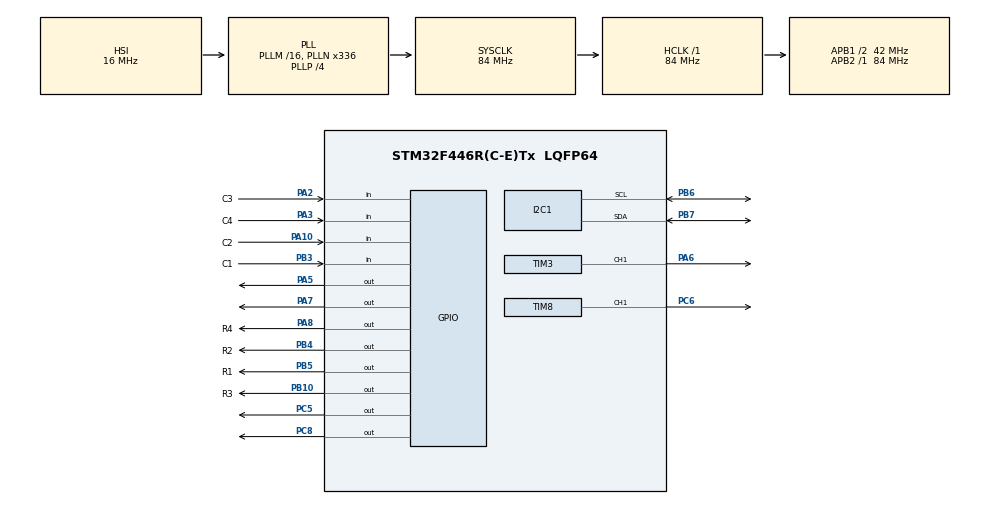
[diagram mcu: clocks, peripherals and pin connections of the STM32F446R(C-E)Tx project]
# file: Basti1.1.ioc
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Mcu.Family=STM32F4
Mcu.Name=STM32F446R(C-E)Tx
Mcu.Package=LQFP64
NVIC.PriorityGroup=NVIC_PRIORITYGROUP_0
PA10.GPIO_Label=C2
PA10.GPIO_PuPd=GPIO_PULLUP
PA10.Signal=GPIO_Input
PA2.GPIO_Label=C3
PA2.GPIO_PuPd=GPIO_PULLUP
PA2.Signal=GPIO_Input
PA3.GPIO_Label=C4
PA3.GPIO_PuPd=GPIO_PULLUP
PA3.Signal=GPIO_Input
PA5.Signal=GPIO_Output
PA6.Signal=S_TIM3_CH1
PA7.Signal=GPIO_Output
PA8.GPIO_Label=R4
PA8.PinState=GPIO_PIN_SET
PA8.Signal=GPIO_Output
PB10.GPIO_Label=R3
PB10.PinState=GPIO_PIN_SET
PB10.Signal=GPIO_Output
PB3.GPIO_Label=C1
PB3.GPIO_PuPd=GPIO_PULLUP
PB3.Signal=GPIO_Input
PB4.GPIO_Label=R2
PB4.PinState=GPIO_PIN_SET
PB4.Signal=GPIO_Output
PB5.GPIO_Label=R1
PB5.PinState=GPIO_PIN_SET
PB5.Signal=GPIO_Output
PB6.Mode=I2C
PB6.Signal=I2C1_SCL
PB7.Mode=I2C
PB7.Signal=I2C1_SDA
PC5.Signal=GPIO_Output
PC6.Signal=S_TIM8_CH1
PC8.Signal=GPIO_Output
PH0-OSC_IN.Mode=HSE-External-Oscillator
PH0-OSC_IN.Signal=RCC_OSC_IN
PH1-OSC_OUT.Mode=HSE-External-Oscillator
PH1-OSC_OUT.Signal=RCC_OSC_OUT
ProjectManager.HeapSize=0x200
ProjectManager.StackSize=0x400
ProjectManager.TargetToolchain=STM32CubeIDE
RCC.48MHZClocksFreq_Value=84000000
RCC.AHBFreq_Value=84000000
RCC.APB1CLKDivider=RCC_HCLK_DIV2
RCC.APB1Freq_Value=42000000
RCC.APB1TimFreq_Value=84000000
RCC.APB2Freq_Value=84000000
RCC.APB2TimFreq_Value=84000000
RCC.CortexFreq_Value=84000000
RCC.FLatency-AdvancedSettings=FLASH_LATENCY_2
RCC.HCLKFreq_Value=84000000
RCC.HSE_VALUE=8000000
RCC.HSI_VALUE=16000000
RCC.PLLN=336
RCC.PLLP=RCC_PLLP_DIV4
RCC.SYSCLKFreq_VALUE=84000000
RCC.SYSCLKSource=RCC_SYSCLKSOURCE_PLLCLK
RCC.USBFreq_Value=168000000
RCC.VCOOutputFreq_Value=336000000
SH.S_TIM3_CH1.0=TIM3_CH1,PWM Generation1 CH1
SH.S_TIM8_CH1.0=TIM8_CH1,PWM Generation1 CH1
TIM3.Channel-PWM\ Generation1\ CH1=TIM_CHANNEL_1
TIM3.Period=999
TIM3.Prescaler=8
TIM8.Channel-PWM\ Generation1\ CH1=TIM_CHANNEL_1
TIM8.Period=999
TIM8.Prescaler=8
VP_TIM3_VS_ClockSourceINT.Mode=Internal
VP_TIM8_VS_ClockSourceINT.Mode=Internal
board=NUCLEO-F446RE

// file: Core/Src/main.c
/* USER CODE BEGIN Header */
/**
 ******************************************************************************
 * @file           : main.c
 * @brief          : Main program body
 ******************************************************************************
 * @attention
 *
 * Copyright (c) 2025 STMicroelectronics.
 * All rights reserved.
 *
 * This software is licensed under terms that can be found in the LICENSE file
 * in the root directory of this software component.
 * If no LICENSE file comes with this software, it is provided AS-IS.
 *
 ******************************************************************************
 */
/* USER CODE END Header */
#include "main.h"

/* USER CODE BEGIN Includes */
#include "i2c-lcd.h"
/* USER CODE END Includes */

I2C_HandleTypeDef hi2c1;

TIM_HandleTypeDef htim3;
TIM_HandleTypeDef htim8;

void SystemClock_Config(void);
static void MX_GPIO_Init(void);
static void MX_I2C1_Init(void);
static void MX_TIM3_Init(void);
static void MX_TIM8_Init(void);

/* USER CODE BEGIN 0 */
char read_keypad (void)
{
	/* Make ROW 1 LOW and all other ROWs HIGH */
	HAL_GPIO_WritePin (R1_GPIO_Port, R1_Pin, GPIO_PIN_RESET);  //Pull the R1 low
	HAL_GPIO_WritePin (R2_GPIO_Port, R2_Pin, GPIO_PIN_SET);  // Pull the R2 High
	HAL_GPIO_WritePin (R3_GPIO_Port, R3_Pin, GPIO_PIN_SET);  // Pull the R3 High
	HAL_GPIO_WritePin (R4_GPIO_Port, R4_Pin, GPIO_PIN_SET);  // Pull the R4 High

	if (!(HAL_GPIO_ReadPin (C1_GPIO_Port, C1_Pin)))   // if the Col 1 is low
	{
		while (!(HAL_GPIO_ReadPin (C1_GPIO_Port, C1_Pin)));   // wait till the button is pressed
		HAL_GPIO_WritePin(GPIOC, GPIO_PIN_5, 1);
		HAL_GPIO_WritePin(GPIOC, GPIO_PIN_8, 0);
		TIM8->CCR1 = 999;
		HAL_TIM_PWM_Start(&htim8, TIM_CHANNEL_1);
		return '1';
	}

	if (!(HAL_GPIO_ReadPin (C2_GPIO_Port, C2_Pin)))   // if the Col 2 is low
	{
		while (!(HAL_GPIO_ReadPin (C2_GPIO_Port, C2_Pin)));   // wait till the button is pressed
		return '2';
	}

	if (!(HAL_GPIO_ReadPin (C3_GPIO_Port, C3_Pin)))   // if the Col 3 is low
	{
		while (!(HAL_GPIO_ReadPin (C3_GPIO_Port, C3_Pin)));   // wait till the button is pressed
		return '3';
	}

	if (!(HAL_GPIO_ReadPin (C4_GPIO_Port, C4_Pin)))   // if the Col 4 is low
	{
		while (!(HAL_GPIO_ReadPin (C4_GPIO_Port, C4_Pin)));   // wait till the button is pressed
		return 'A';
	}

	/* Make ROW 2 LOW and all other ROWs HIGH */
	HAL_GPIO_WritePin (R1_GPIO_Port, R1_Pin, GPIO_PIN_SET);  //Pull the R1 low
	HAL_GPIO_WritePin (R2_GPIO_Port, R2_Pin, GPIO_PIN_RESET);  // Pull the R2 High
	HAL_GPIO_WritePin (R3_GPIO_Port, R3_Pin, GPIO_PIN_SET);  // Pull the R3 High
	HAL_GPIO_WritePin (R4_GPIO_Port, R4_Pin, GPIO_PIN_SET);  // Pull the R4 High

	if (!(HAL_GPIO_ReadPin (C1_GPIO_Port, C1_Pin)))   // if the Col 1 is low
	{
		while (!(HAL_GPIO_ReadPin (C1_GPIO_Port, C1_Pin)));   // wait till the button is pressed
		return '4';
	}

	if (!(HAL_GPIO_ReadPin (C2_GPIO_Port, C2_Pin)))   // if the Col 2 is low
	{
		while (!(HAL_GPIO_ReadPin (C2_GPIO_Port, C2_Pin)));   // wait till the button is pressed
		return '5';
	}

	if (!(HAL_GPIO_ReadPin (C3_GPIO_Port, C3_Pin)))   // if the Col 3 is low
	{
		while (!(HAL_GPIO_ReadPin (C3_GPIO_Port, C3_Pin)));   // wait till the button is pressed
		return '6';
	}

	if (!(HAL_GPIO_ReadPin (C4_GPIO_Port, C4_Pin)))   // if the Col 4 is low
	{
		while (!(HAL_GPIO_ReadPin (C4_GPIO_Port, C4_Pin)));   // wait till the button is pressed
		return 'B';
	}

	/* Make ROW 3 LOW and all other ROWs HIGH */
	HAL_GPIO_WritePin (R1_GPIO_Port, R1_Pin, GPIO_PIN_SET);  //Pull the R1 low
	HAL_GPIO_WritePin (R2_GPIO_Port, R2_Pin, GPIO_PIN_SET);  // Pull the R2 High
	HAL_GPIO_WritePin (R3_GPIO_Port, R3_Pin, GPIO_PIN_RESET);  // Pull the R3 High
	HAL_GPIO_WritePin (R4_GPIO_Port, R4_Pin, GPIO_PIN_SET);  // Pull the R4 High

	if (!(HAL_GPIO_ReadPin (C1_GPIO_Port, C1_Pin)))   // if the Col 1 is low
	{
		while (!(HAL_GPIO_ReadPin (C1_GPIO_Port, C1_Pin)));   // wait till the button is pressed
		return '7';
	}

	if (!(HAL_GPIO_ReadPin (C2_GPIO_Port, C2_Pin)))   // if the Col 2 is low
	{
		while (!(HAL_GPIO_ReadPin (C2_GPIO_Port, C2_Pin)));   // wait till the button is pressed
		return '8';
	}

	if (!(HAL_GPIO_ReadPin (C3_GPIO_Port, C3_Pin)))   // if the Col 3 is low
	{
		while (!(HAL_GPIO_ReadPin (C3_GPIO_Port, C3_Pin)));   // wait till the button is pressed
		return '9';
	}

	if (!(HAL_GPIO_ReadPin (C4_GPIO_Port, C4_Pin)))   // if the Col 4 is low
	{
		while (!(HAL_GPIO_ReadPin (C4_GPIO_Port, C4_Pin)));   // wait till the button is pressed
		return 'C';
	}

	/* Make ROW 4 LOW and all other ROWs HIGH */
	HAL_GPIO_WritePin (R1_GPIO_Port, R1_Pin, GPIO_PIN_SET);  //Pull the R1 low
	HAL_GPIO_WritePin (R2_GPIO_Port, R2_Pin, GPIO_PIN_SET);  // Pull the R2 High
	HAL_GPIO_WritePin (R3_GPIO_Port, R3_Pin, GPIO_PIN_SET);  // Pull the R3 High
	HAL_GPIO_WritePin (R4_GPIO_Port, R4_Pin, GPIO_PIN_RESET);  // Pull the R4 High

	if (!(HAL_GPIO_ReadPin (C1_GPIO_Port, C1_Pin)))   // if the Col 1 is low
	{
		while (!(HAL_GPIO_ReadPin (C1_GPIO_Port, C1_Pin)));   // wait till the button is pressed
		return '*';
	}

	if (!(HAL_GPIO_ReadPin (C2_GPIO_Port, C2_Pin)))   // if the Col 2 is low
	{
		while (!(HAL_GPIO_ReadPin (C2_GPIO_Port, C2_Pin)));   // wait till the button is pressed
		return '0';
	}

	if (!(HAL_GPIO_ReadPin (C3_GPIO_Port, C3_Pin)))   // if the Col 3 is low
	{
		while (!(HAL_GPIO_ReadPin (C3_GPIO_Port, C3_Pin)));   // wait till the button is pressed
		return '#';
	}

	if (!(HAL_GPIO_ReadPin (C4_GPIO_Port, C4_Pin)))   // if the Col 4 is low
	{
		while (!(HAL_GPIO_ReadPin (C4_GPIO_Port, C4_Pin)));   // wait till the button is pressed
		return 'D';
	}

	return 0x01;  // /if nothing is pressed

}
/* USER CODE END 0 */

int main(void)
{

	/* MCU Configuration--------------------------------------------------------*/

	/* Reset of all peripherals, Initializes the Flash interface and the Systick. */
	HAL_Init();

	/* Configure the system clock */
	SystemClock_Config();

	/* Initialize all configured peripherals */
	MX_GPIO_Init();
	MX_I2C1_Init();
	MX_TIM3_Init();
	MX_TIM8_Init();
	/* USER CODE BEGIN 2 */
	lcd_init();
	lcd_clear();

	lcd_put_cur(0, 0);
	lcd_send_string("WelcomeBastiMachine!");
	lcd_put_cur(2, 0);
	lcd_send_string("Enter Basti: ");

	/* USER CODE END 2 */

	/* Infinite loop */
	while (1)
	{

		/* USER CODE BEGIN 3 */
		char key = read_keypad();
		if (key!=0x01)
		{
			lcd_send_data(key);
		}

//		HAL_GPIO_WritePin(GPIOA, GPIO_PIN_5, 1);
//		HAL_GPIO_WritePin(GPIOA, GPIO_PIN_7, 0);
//		TIM3->CCR1 = 999;
//		HAL_TIM_PWM_Start(&htim3, TIM_CHANNEL_1);
	}
	/* USER CODE END 3 */
}

void SystemClock_Config(void)
{
	RCC_OscInitTypeDef RCC_OscInitStruct = {0};
	RCC_ClkInitTypeDef RCC_ClkInitStruct = {0};

	/** Configure the main internal regulator output voltage
	 */
	__HAL_RCC_PWR_CLK_ENABLE();
	__HAL_PWR_VOLTAGESCALING_CONFIG(PWR_REGULATOR_VOLTAGE_SCALE3);

	/** Initializes the RCC Oscillators according to the specified parameters
	 * in the RCC_OscInitTypeDef structure.
	 */
	RCC_OscInitStruct.OscillatorType = RCC_OSCILLATORTYPE_HSI;
	RCC_OscInitStruct.HSIState = RCC_HSI_ON;
	RCC_OscInitStruct.HSICalibrationValue = RCC_HSICALIBRATION_DEFAULT;
	RCC_OscInitStruct.PLL.PLLState = RCC_PLL_ON;
	RCC_OscInitStruct.PLL.PLLSource = RCC_PLLSOURCE_HSI;
	RCC_OscInitStruct.PLL.PLLM = 16;
	RCC_OscInitStruct.PLL.PLLN = 336;
	RCC_OscInitStruct.PLL.PLLP = RCC_PLLP_DIV4;
	RCC_OscInitStruct.PLL.PLLQ = 2;
	RCC_OscInitStruct.PLL.PLLR = 2;
	if (HAL_RCC_OscConfig(&RCC_OscInitStruct) != HAL_OK)
	{
		Error_Handler();
	}

	/** Initializes the CPU, AHB and APB buses clocks
	 */
	RCC_ClkInitStruct.ClockType = RCC_CLOCKTYPE_HCLK|RCC_CLOCKTYPE_SYSCLK
			|RCC_CLOCKTYPE_PCLK1|RCC_CLOCKTYPE_PCLK2;
	RCC_ClkInitStruct.SYSCLKSource = RCC_SYSCLKSOURCE_PLLCLK;
	RCC_ClkInitStruct.AHBCLKDivider = RCC_SYSCLK_DIV1;
	RCC_ClkInitStruct.APB1CLKDivider = RCC_HCLK_DIV2;
	RCC_ClkInitStruct.APB2CLKDivider = RCC_HCLK_DIV1;

	if (HAL_RCC_ClockConfig(&RCC_ClkInitStruct, FLASH_LATENCY_2) != HAL_OK)
	{
		Error_Handler();
	}
}

static void MX_I2C1_Init(void)
{

	hi2c1.Instance = I2C1;
	hi2c1.Init.ClockSpeed = 100000;
	hi2c1.Init.DutyCycle = I2C_DUTYCYCLE_2;
	hi2c1.Init.OwnAddress1 = 0;
	hi2c1.Init.AddressingMode = I2C_ADDRESSINGMODE_7BIT;
	hi2c1.Init.DualAddressMode = I2C_DUALADDRESS_DISABLE;
	hi2c1.Init.OwnAddress2 = 0;
	hi2c1.Init.GeneralCallMode = I2C_GENERALCALL_DISABLE;
	hi2c1.Init.NoStretchMode = I2C_NOSTRETCH_DISABLE;
	if (HAL_I2C_Init(&hi2c1) != HAL_OK)
	{
		Error_Handler();
	}

}

static void MX_TIM3_Init(void)
{

	TIM_ClockConfigTypeDef sClockSourceConfig = {0};
	TIM_MasterConfigTypeDef sMasterConfig = {0};
	TIM_OC_InitTypeDef sConfigOC = {0};

	htim3.Instance = TIM3;
	htim3.Init.Prescaler = 8;
	htim3.Init.CounterMode = TIM_COUNTERMODE_UP;
	htim3.Init.Period = 999;
	htim3.Init.ClockDivision = TIM_CLOCKDIVISION_DIV1;
	htim3.Init.AutoReloadPreload = TIM_AUTORELOAD_PRELOAD_DISABLE;
	if (HAL_TIM_Base_Init(&htim3) != HAL_OK)
	{
		Error_Handler();
	}
	sClockSourceConfig.ClockSource = TIM_CLOCKSOURCE_INTERNAL;
	if (HAL_TIM_ConfigClockSource(&htim3, &sClockSourceConfig) != HAL_OK)
	{
		Error_Handler();
	}
	if (HAL_TIM_PWM_Init(&htim3) != HAL_OK)
	{
		Error_Handler();
	}
	sMasterConfig.MasterOutputTrigger = TIM_TRGO_RESET;
	sMasterConfig.MasterSlaveMode = TIM_MASTERSLAVEMODE_DISABLE;
	if (HAL_TIMEx_MasterConfigSynchronization(&htim3, &sMasterConfig) != HAL_OK)
	{
		Error_Handler();
	}
	sConfigOC.OCMode = TIM_OCMODE_PWM1;
	sConfigOC.Pulse = 0;
	sConfigOC.OCPolarity = TIM_OCPOLARITY_HIGH;
	sConfigOC.OCFastMode = TIM_OCFAST_DISABLE;
	if (HAL_TIM_PWM_ConfigChannel(&htim3, &sConfigOC, TIM_CHANNEL_1) != HAL_OK)
	{
		Error_Handler();
	}
	HAL_TIM_MspPostInit(&htim3);

}

static void MX_TIM8_Init(void)
{

	TIM_ClockConfigTypeDef sClockSourceConfig = {0};
	TIM_MasterConfigTypeDef sMasterConfig = {0};
	TIM_OC_InitTypeDef sConfigOC = {0};
	TIM_BreakDeadTimeConfigTypeDef sBreakDeadTimeConfig = {0};

	htim8.Instance = TIM8;
	htim8.Init.Prescaler = 8;
	htim8.Init.CounterMode = TIM_COUNTERMODE_UP;
	htim8.Init.Period = 999;
	htim8.Init.ClockDivision = TIM_CLOCKDIVISION_DIV1;
	htim8.Init.RepetitionCounter = 0;
	htim8.Init.AutoReloadPreload = TIM_AUTORELOAD_PRELOAD_DISABLE;
	if (HAL_TIM_Base_Init(&htim8) != HAL_OK)
	{
		Error_Handler();
	}
	sClockSourceConfig.ClockSource = TIM_CLOCKSOURCE_INTERNAL;
	if (HAL_TIM_ConfigClockSource(&htim8, &sClockSourceConfig) != HAL_OK)
	{
		Error_Handler();
	}
	if (HAL_TIM_PWM_Init(&htim8) != HAL_OK)
	{
		Error_Handler();
	}
	sMasterConfig.MasterOutputTrigger = TIM_TRGO_RESET;
	sMasterConfig.MasterSlaveMode = TIM_MASTERSLAVEMODE_DISABLE;
	if (HAL_TIMEx_MasterConfigSynchronization(&htim8, &sMasterConfig) != HAL_OK)
	{
		Error_Handler();
	}
	sConfigOC.OCMode = TIM_OCMODE_PWM1;
	sConfigOC.Pulse = 0;
	sConfigOC.OCPolarity = TIM_OCPOLARITY_HIGH;
	sConfigOC.OCNPolarity = TIM_OCNPOLARITY_HIGH;
	sConfigOC.OCFastMode = TIM_OCFAST_DISABLE;
	sConfigOC.OCIdleState = TIM_OCIDLESTATE_RESET;
	sConfigOC.OCNIdleState = TIM_OCNIDLESTATE_RESET;
	if (HAL_TIM_PWM_ConfigChannel(&htim8, &sConfigOC, TIM_CHANNEL_1) != HAL_OK)
	{
		Error_Handler();
	}
	sBreakDeadTimeConfig.OffStateRunMode = TIM_OSSR_DISABLE;
	sBreakDeadTimeConfig.OffStateIDLEMode = TIM_OSSI_DISABLE;
	sBreakDeadTimeConfig.LockLevel = TIM_LOCKLEVEL_OFF;
	sBreakDeadTimeConfig.DeadTime = 0;
	sBreakDeadTimeConfig.BreakState = TIM_BREAK_DISABLE;
	sBreakDeadTimeConfig.BreakPolarity = TIM_BREAKPOLARITY_HIGH;
	sBreakDeadTimeConfig.AutomaticOutput = TIM_AUTOMATICOUTPUT_DISABLE;
	if (HAL_TIMEx_ConfigBreakDeadTime(&htim8, &sBreakDeadTimeConfig) != HAL_OK)
	{
		Error_Handler();
	}
	HAL_TIM_MspPostInit(&htim8);

}

static void MX_GPIO_Init(void)
{
	GPIO_InitTypeDef GPIO_InitStruct = {0};

	/* GPIO Ports Clock Enable */
	__HAL_RCC_GPIOH_CLK_ENABLE();
	__HAL_RCC_GPIOA_CLK_ENABLE();
	__HAL_RCC_GPIOC_CLK_ENABLE();
	__HAL_RCC_GPIOB_CLK_ENABLE();

	/*Configure GPIO pin Output Level */
	HAL_GPIO_WritePin(GPIOA, GPIO_PIN_5|GPIO_PIN_7, GPIO_PIN_RESET);

	/*Configure GPIO pin Output Level */
	HAL_GPIO_WritePin(GPIOC, GPIO_PIN_5|GPIO_PIN_8, GPIO_PIN_RESET);

	/*Configure GPIO pin Output Level */
	HAL_GPIO_WritePin(GPIOB, R3_Pin|R2_Pin|R1_Pin, GPIO_PIN_SET);

	/*Configure GPIO pin Output Level */
	HAL_GPIO_WritePin(R4_GPIO_Port, R4_Pin, GPIO_PIN_SET);

	/*Configure GPIO pins : C3_Pin C4_Pin C2_Pin */
	GPIO_InitStruct.Pin = C3_Pin|C4_Pin|C2_Pin;
	GPIO_InitStruct.Mode = GPIO_MODE_INPUT;
	GPIO_InitStruct.Pull = GPIO_PULLUP;
	HAL_GPIO_Init(GPIOA, &GPIO_InitStruct);

	/*Configure GPIO pins : PA5 PA7 R4_Pin */
	GPIO_InitStruct.Pin = GPIO_PIN_5|GPIO_PIN_7|R4_Pin;
	GPIO_InitStruct.Mode = GPIO_MODE_OUTPUT_PP;
	GPIO_InitStruct.Pull = GPIO_NOPULL;
	GPIO_InitStruct.Speed = GPIO_SPEED_FREQ_LOW;
	HAL_GPIO_Init(GPIOA, &GPIO_InitStruct);

	/*Configure GPIO pins : PC5 PC8 */
	GPIO_InitStruct.Pin = GPIO_PIN_5|GPIO_PIN_8;
	GPIO_InitStruct.Mode = GPIO_MODE_OUTPUT_PP;
	GPIO_InitStruct.Pull = GPIO_NOPULL;
	GPIO_InitStruct.Speed = GPIO_SPEED_FREQ_LOW;
	HAL_GPIO_Init(GPIOC, &GPIO_InitStruct);

	/*Configure GPIO pins : R3_Pin R2_Pin R1_Pin */
	GPIO_InitStruct.Pin = R3_Pin|R2_Pin|R1_Pin;
	GPIO_InitStruct.Mode = GPIO_MODE_OUTPUT_PP;
	GPIO_InitStruct.Pull = GPIO_NOPULL;
	GPIO_InitStruct.Speed = GPIO_SPEED_FREQ_LOW;
	HAL_GPIO_Init(GPIOB, &GPIO_InitStruct);

	/*Configure GPIO pin : C1_Pin */
	GPIO_InitStruct.Pin = C1_Pin;
	GPIO_InitStruct.Mode = GPIO_MODE_INPUT;
	GPIO_InitStruct.Pull = GPIO_PULLUP;
	HAL_GPIO_Init(C1_GPIO_Port, &GPIO_InitStruct);

}

void Error_Handler(void)
{
	__disable_irq();
	while (1)
	{
	}
}
